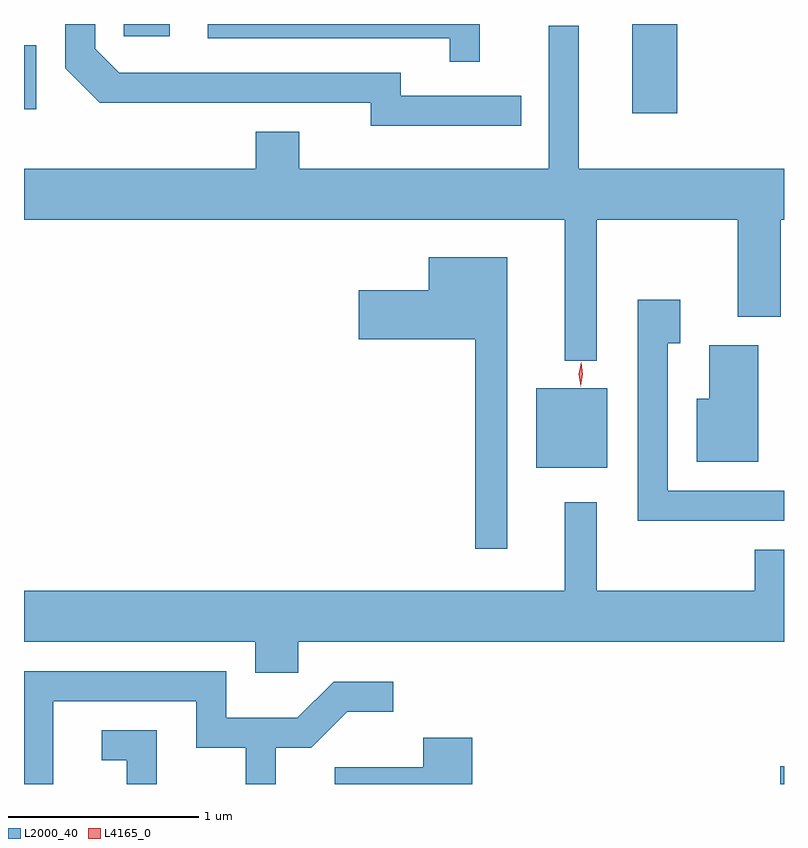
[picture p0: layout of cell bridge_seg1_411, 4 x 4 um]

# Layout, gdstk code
import gdstk
lib = gdstk.Library(unit=1e-6, precision=1e-09)
def R(c, l, rs):  # rectangles x0, y0, x1, y1
    for r in rs: c.add(gdstk.rectangle(r[:2], r[2:], *l))
def P(c, l, *ps):  # polygons
    for p in ps: c.add(gdstk.Polygon(p, *l))
L2000_40 = (2000, 40)
L4165_0 = (4165, 0)

bridge_seg1_411 = lib.new_cell('bridge_seg1_411')
R(bridge_seg1_411, L2000_40, [(404.736,925.466,404.755,925.559), (403.451,927.131,403.824,927.549), (403.956,928.996,404.194,929.466), (400.755,929.018,400.819,929.354), (401.281,929.401,401.523,929.466)])
P(bridge_seg1_411, L2000_40, [(403.373,929.089),(402.739,929.089),(402.739,929.209),(401.257,929.209),(401.129,929.337),(401.129,929.466),(400.971,929.466),(400.971,929.234),(401.154,929.051),(402.581,929.051),(402.581,928.931),(403.373,928.931)],
  [(403.154,929.466),(401.723,929.466),(401.723,929.391),(402.996,929.391),(402.996,929.268),(403.154,929.268)],
  [(403.769,928.436),(404.511,928.436),(404.511,927.926),(404.739,927.926),(404.739,928.436),(404.755,928.436),(404.755,928.704),(403.674,928.704),(403.674,929.458),(403.516,929.458),(403.516,928.704),(402.204,928.704),(402.204,928.899),(401.976,928.899),(401.976,928.704),(400.755,928.704),(400.755,928.436),(403.601,928.436),(403.601,927.693),(403.769,927.693)],
  [(403.299,928.239),(402.886,928.239),(402.886,928.064),(402.516,928.064),(402.516,927.806),(403.131,927.806),(403.131,926.703),(403.299,926.703)],
  [(404.755,927.009),(404.144,927.009),(404.144,927.786),(404.209,927.786),(404.209,928.014),(403.986,928.014),(403.986,926.851),(404.755,926.851)],
  [(404.619,927.774),(404.361,927.774),(404.361,927.494),(404.296,927.494),(404.296,927.161),(404.619,927.161)],
  [(402.199,926.216),(404.755,926.216),(404.755,926.699),(404.601,926.699),(404.601,926.484),(403.769,926.484),(403.769,926.948),(403.601,926.948),(403.601,926.484),(400.755,926.484),(400.755,926.216),(401.971,926.216),(401.971,926.051),(402.199,926.051)],
  [(400.909,925.901),(401.661,925.901),(401.661,925.656),(401.921,925.656),(401.921,925.466),(402.079,925.466),(402.079,925.656),(402.267,925.656),(402.457,925.846),(402.698,925.846),(402.698,926.004),(402.384,926.004),(402.194,925.814),(401.819,925.814),(401.819,926.059),(400.755,926.059),(400.755,925.466),(400.909,925.466)],
  [(401.454,925.749),(401.163,925.749),(401.163,925.591),(401.296,925.591),(401.296,925.466),(401.454,925.466)],
  [(403.114,925.709),(402.856,925.709),(402.856,925.554),(402.391,925.554),(402.391,925.466),(403.114,925.466)])
P(bridge_seg1_411, L4165_0, [(403.685,927.558),(403.685,927.559),(403.676,927.623),(403.687,927.687),(403.687,927.687),(403.688,927.687),(403.696,927.622),(403.686,927.559)])

lib.write_gds('bridge_seg1_411.gds')
